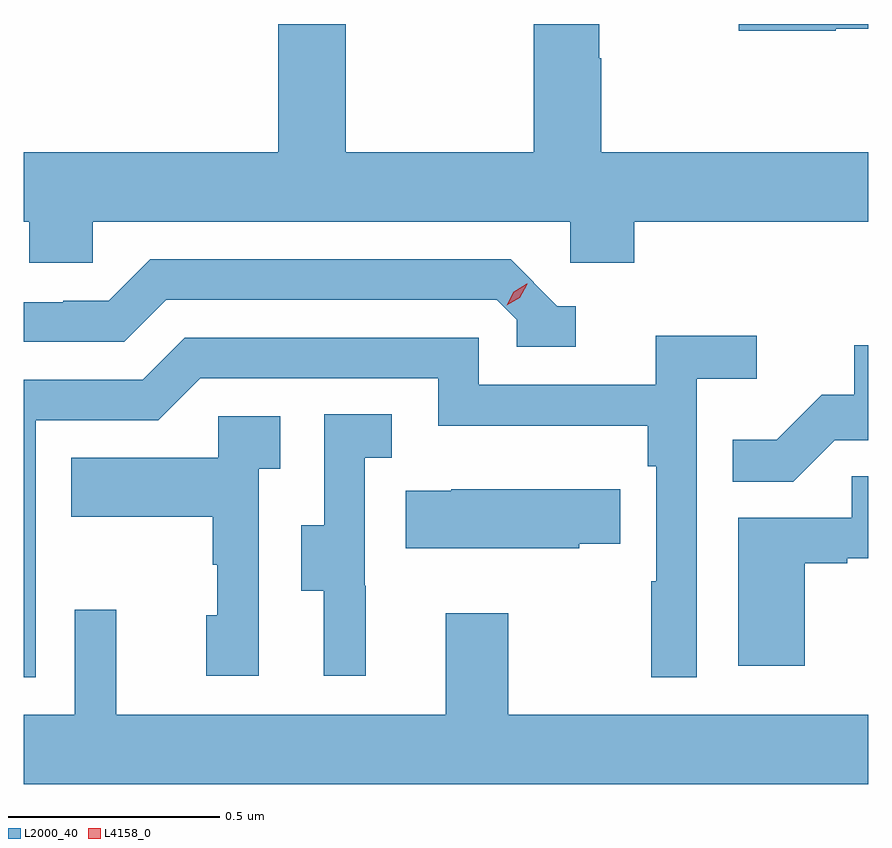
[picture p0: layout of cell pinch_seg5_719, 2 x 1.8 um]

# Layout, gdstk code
import gdstk
lib = gdstk.Library(unit=1e-6, precision=1e-09)
def P(c, l, *ps):  # polygons
    for p in ps: c.add(gdstk.Polygon(p, *l))
L2000_40 = (2000, 40)
L4158_0 = (4158, 0)

pinch_seg5_719 = lib.new_cell('pinch_seg5_719')
P(pinch_seg5_719, L2000_40, [(1134.827,847.893),(1134.904,847.893),(1134.904,847.904),(1134.597,847.904),(1134.597,847.888),(1134.827,847.888)],
  [(1133.067,847.436),(1134.198,847.436),(1134.198,847.338),(1134.35,847.338),(1134.35,847.436),(1134.904,847.436),(1134.904,847.6),(1134.272,847.6),(1134.272,847.823),(1134.267,847.823),(1134.267,847.904),(1134.112,847.904),(1134.112,847.6),(1133.667,847.6),(1133.667,847.904),(1133.507,847.904),(1133.507,847.6),(1132.904,847.6),(1132.904,847.436),(1132.917,847.436),(1132.917,847.338),(1133.067,847.338)],
  [(1134.211,847.236),(1134.168,847.236),(1134.057,847.347),(1133.204,847.347),(1133.105,847.248),(1132.998,847.248),(1132.998,847.245),(1132.904,847.245),(1132.904,847.152),(1133.142,847.152),(1133.241,847.251),(1134.024,847.251),(1134.072,847.203),(1134.072,847.14),(1134.211,847.14)],
  [(1132.932,846.966),(1133.223,846.966),(1133.322,847.065),(1133.886,847.065),(1133.886,846.953),(1134.382,846.953),(1134.382,846.857),(1134.402,846.857),(1134.402,846.584),(1134.39,846.584),(1134.39,846.357),(1134.498,846.357),(1134.498,847.064),(1134.64,847.064),(1134.64,847.166),(1134.401,847.166),(1134.401,847.05),(1133.982,847.05),(1133.982,847.161),(1133.285,847.161),(1133.186,847.062),(1132.904,847.062),(1132.904,846.357),(1132.932,846.357)],
  [(1134.825,846.918),(1134.904,846.918),(1134.904,847.143),(1134.871,847.143),(1134.871,847.026),(1134.794,847.026),(1134.687,846.919),(1134.583,846.919),(1134.583,846.82),(1134.727,846.82)],
  [(1133.714,846.573),(1133.712,846.573),(1133.712,846.877),(1133.776,846.877),(1133.776,846.98),(1133.616,846.98),(1133.616,846.717),(1133.561,846.717),(1133.561,846.562),(1133.615,846.562),(1133.615,846.36),(1133.714,846.36)],
  [(1133.46,846.851),(1133.512,846.851),(1133.512,846.975),(1133.364,846.975),(1133.364,846.877),(1133.017,846.877),(1133.017,846.737),(1133.352,846.737),(1133.352,846.623),(1133.362,846.623),(1133.362,846.504),(1133.336,846.504),(1133.336,846.36),(1133.46,846.36)],
  [(1134.754,846.627),(1134.854,846.627),(1134.854,846.639),(1134.904,846.639),(1134.904,846.833),(1134.865,846.833),(1134.865,846.735),(1134.596,846.735),(1134.596,846.384),(1134.754,846.384)],
  [(1134.219,846.673),(1134.317,846.673),(1134.317,846.802),(1133.917,846.802),(1133.917,846.799),(1133.809,846.799),(1133.809,846.662),(1134.219,846.662)],
  [(1134.904,846.268),(1134.051,846.268),(1134.051,846.508),(1133.903,846.508),(1133.903,846.268),(1133.123,846.268),(1133.123,846.517),(1133.025,846.517),(1133.025,846.268),(1132.904,846.268),(1132.904,846.104),(1134.904,846.104)])
P(pinch_seg5_719, L4158_0, [(1134.048,847.238),(1134.048,847.238),(1134.064,847.27),(1134.095,847.289),(1134.096,847.289),(1134.096,847.288),(1134.079,847.256),(1134.048,847.238)])

lib.write_gds('pinch_seg5_719.gds')
